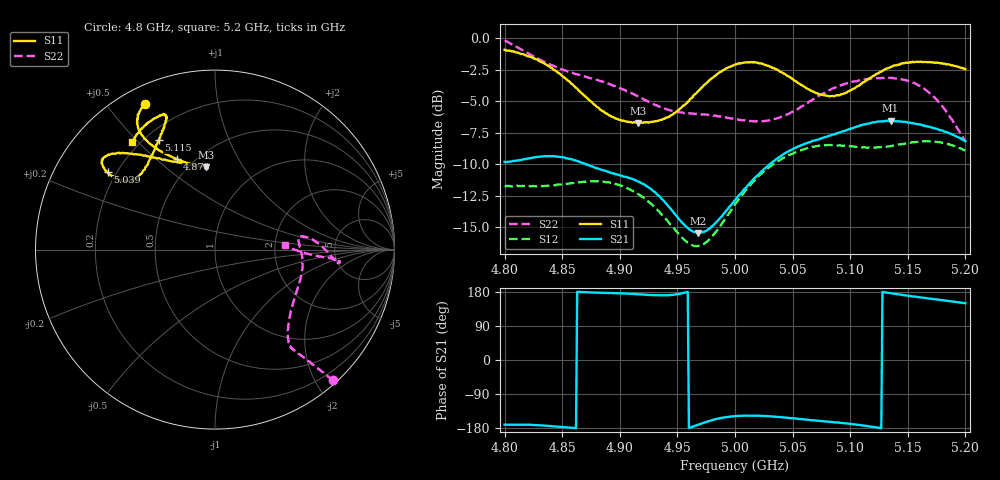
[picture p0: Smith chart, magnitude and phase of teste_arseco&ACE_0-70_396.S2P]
! Network Analyzer HP8722D
! Hewlett-Packard
! Data name: Linha & Wilkinson
! Saver's name: Rodrigo Anjos
! Comments: Teste da utilização de aquisição
! continua pelo VNA HP8722D
! Time and date: 8/5/2025 16:03
!  Frequency  S11  S21  S12  S22
# HZ  S  MA R 50
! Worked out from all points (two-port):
!   401 points, 4.8 GHz to 5.2 GHz, reference 50 ohm
!   highest |S21| = -6.53 dB at 5.135 GHz (marker M1); lowest = -15.5 dB at 4.968 GHz (marker M2)
!   |S21| within 3 dB of the highest: 4.822 GHz to 4.854 GHz (32.12 MHz wide, 0.664 % of centre); 5.037 GHz to end of sweep (the widest 2 of 3)
!   lowest |S11| = -6.7 dB at 4.916 GHz (marker M3), VSWR 2.71, Z = 30 + j34.9 ohm
!   |S11| at or under -10 dB: nowhere
!   |S22| runs from -8.2 to -0.2 dB; largest |S21 - S12| = 0.83
!   S11 on the Smith chart (normalised r, x): 4.8 GHz: 0.07, +0.62; 4.878 GHz: 0.41, +0.59; 5.039 GHz: 0.17, +0.31; 5.115 GHz: 0.25, +0.58; 5.2 GHz: 0.17, +0.48
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4.8e9  0.9008 115.8  0.3227 -170.6  0.259 -86.2  0.9816 -47.9
4.818e9  0.8571 120.0  0.331 -170.7  0.2593 -82.2  0.8836 -48.9
4.835e9  0.7924 122.5  0.3405 -173.2  0.2592 -76.8  0.8055 -50.2
4.867e9  0.6057 117.6  0.3205 179.3  0.2683 -67.8  0.7115 -51.9
4.878e9  0.5453 112.6  0.3067 177.9  0.2706 -66.7  0.6883 -52.1
4.899e9  0.4755 101.5  0.2865 175.9  0.2616 -67.4  0.638 -50.3
4.916e9  0.4612 96.3  0.2698 173.3  0.2402 -69.1  0.5871 -45.9
4.934e9  0.472 100.0  0.2361 170.6  0.2054 -69.9  0.5365 -36.9
4.957e9  0.5483 116.3  0.1801 178.3  0.1567 -59.8  0.5066 -21.7
4.968e9  0.6165 123.7  0.1684 -171.0  0.1493 -47.6  0.4994 -15.2
4.98e9  0.6942 130.1  0.1791 -158.8  0.1628 -34.2  0.4943 -9.0
5e9  0.7867 137.4  0.2272 -148.2  0.219 -21.6  0.4773 -0.3
5.018e9  0.802 141.7  0.2807 -146.8  0.2758 -18.9  0.4683 5.7
5.039e9  0.7373 144.3  0.3379 -150.5  0.3282 -19.1  0.4854 8.6
5.067e9  0.6176 142.0  0.3911 -158.8  0.3708 -21.4  0.5686 3.9
5.088e9  0.5939 132.8  0.4189 -164.7  0.3755 -24.6  0.6415 -2.6
5.115e9  0.685 117.3  0.4587 -174.6  0.3674 -27.5  0.6898 -6.1
5.134e9  0.764 111.1  0.4691 176.9  0.3724 -29.6  0.6976 -5.5
5.135e9  0.7703 110.9  0.4714 176.5  0.3734 -29.6  0.6977 -5.5
5.163e9  0.8056 113.0  0.4503 164.4  0.3895 -36.6  0.6356 -4.1
5.181e9  0.7943 119.6  0.4278 157.5  0.384 -42.3  0.53 -2.9
5.2e9  0.7548 127.6  0.3905 149.7  0.358 -47.4  0.388 3.4
